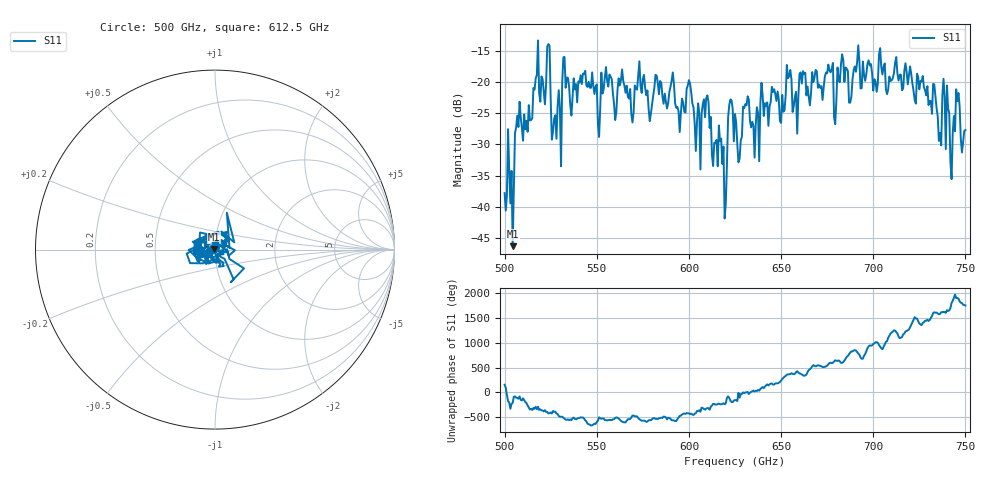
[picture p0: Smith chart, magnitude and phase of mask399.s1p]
!Created with skrf (http://scikit-rf.org).
# GHz S MA R 50.0
!freq magS11 angS11
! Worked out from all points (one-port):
!   401 points, 500 GHz to 750 GHz, reference 50 ohm
!   lowest |S11| = -46.3 dB at 504.4 GHz (marker M1), VSWR 1.01, Z = 49.6 + j0.256 ohm
!   |S11| at or under -10 dB: start of sweep to end of sweep
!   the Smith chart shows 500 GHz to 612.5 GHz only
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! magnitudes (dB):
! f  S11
! 500 GHz  -37.8
! 504.4 GHz  -46.3
! 506.9 GHz  -25.4
! 513.8 GHz  -26.2
! 516.9 GHz  -19.4
! 523.8 GHz  -13.9
! 526.9 GHz  -25.8
! 531.2 GHz  -20.0
! 562.5 GHz  -20.5
! 579.4 GHz  -25.0
! 590.6 GHz  -19.8
! 593.8 GHz  -24.0
! 600 GHz  -19.7
! 605 GHz  -23.4
! 609.4 GHz  -22.6
! 619.4 GHz  -41.9
! 622.5 GHz  -22.8
! 625 GHz  -25.1
! 627.5 GHz  -32.3
! 631.2 GHz  -23.7
! 656.2 GHz  -24.8
! 676.9 GHz  -18.4
! 680 GHz  -22.9
! 683.8 GHz  -16.5
! 687.5 GHz  -23.3
! 691.2 GHz  -16.8
! 718.8 GHz  -20.4
! 750 GHz  -27.7
